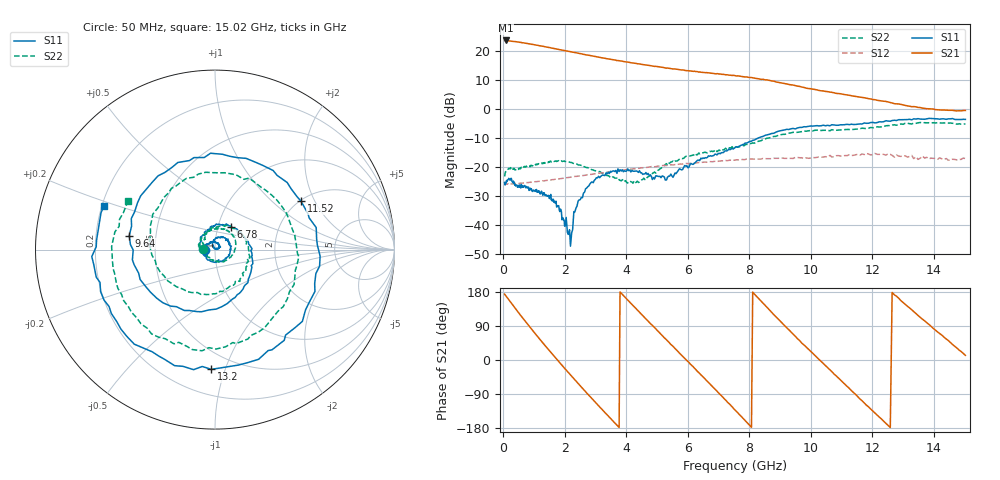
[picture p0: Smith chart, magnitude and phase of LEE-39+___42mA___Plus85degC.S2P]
! Mini-Circuits
! S2P DATA File Format
! Type: MMIC Amplifier
! Model: LEE-39+
! TEST CONDITIONS: INPUT POWER = -25dBm, Icc = 42mA, Vd = 3.46V @Temperature = +85degC
! 401 Frequency points
! S Parameters are in dB deg format
# MHz S DB R 50
!  FREQ  dB(S11)  PHS(S11)  dB(S21)  PHS(S21)  dB(S12)  PHS(S12)  dB(S22)  PHS(S22)
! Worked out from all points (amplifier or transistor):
!   401 points, 50 MHz to 15.02 GHz, reference 50 ohm
!   highest |S21| = 23.6 dB at 80 MHz (marker M1)
!   |S21| within 3 dB of that: start of sweep to 1.768 GHz
!   unconditionally stable (mu >= 1): start of sweep to end of sweep
!   at 1.04 GHz: K = 1.05, MAG = 22.2 dB, |S12| = -25.0 dB
!   at 4.57 GHz: K = 1.15, MAG = 15.4 dB, |S12| = -20.2 dB
!   at 15.02 GHz: K = 1.55, MAG = 4.0 dB, |S12| = -17.1 dB
!   S11 on the Smith chart (normalised r, x): 50 MHz: 0.90, -0.00; 6.78 GHz: 1.16, +0.30; 9.64 GHz: 0.35, +0.07; 11.52 GHz: 2.03, +1.57; 13.2 GHz: 0.37, -0.90; 15.02 GHz: 0.21, +0.18
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50  -25.25 -179.6  23.61 173.7  -25.57 -4.9  -23.22 175.3
80  -25.70 169.4  23.65 170.5  -25.76 -4.8  -21.58 175.4
425  -26.12 139.1  23.22 133.0  -25.62 -21.9  -20.60 157.2
725  -26.91 108.5  22.73 101.8  -25.35 -37.8  -19.83 132.8
1055  -27.93 71.1  22.12 68.4  -25.00 -56.4  -19.08 104.1
1475  -29.72 36.5  21.27 27.4  -24.47 -80.8  -18.16 69.1
1950  -37.55 19.6  20.27 -17.3  -23.82 -109.2  -17.97 34.3
2580  -30.53 113.9  18.94 -74.7  -22.91 -148.6  -19.34 -11.1
3170  -23.22 75.5  17.74 -126.7  -22.07 172.6  -21.71 -56.0
3660  -21.13 42.8  16.86 -168.8  -21.34 139.6  -23.77 -93.1
4430  -21.23 -22.8  15.56 126.3  -20.36 86.7  -25.08 -169.5
5060  -23.21 -104.9  14.56 73.9  -19.65 41.8  -20.95 127.2
5870  -20.07 145.4  13.45 6.6  -18.86 -16.3  -16.94 67.1
6780  -16.21 54.1  12.34 -68.0  -18.10 -83.7  -14.46 -2.7
7550  -13.12 -17.9  11.49 -133.0  -17.52 -140.9  -13.14 -59.8
8720  -8.41 -116.7  9.73 126.3  -17.09 129.5  -9.62 -157.9
9640  -6.30 170.7  7.79 50.7  -16.78 60.0  -7.82 134.7
10060  -5.86 138.4  6.86 17.8  -16.64 30.1  -7.53 106.5
11520  -5.19 29.3  4.29 -96.4  -15.55 -79.1  -6.88 4.2
12580  -4.18 -50.4  2.25 -178.1  -15.61 -161.8  -5.71 -67.3
13200  -3.51 -91.8  1.01 137.9  -16.34 151.6  -5.01 -106.1
15020  -3.56 158.6  -0.46 12.3  -17.09 30.8  -5.10 151.0
